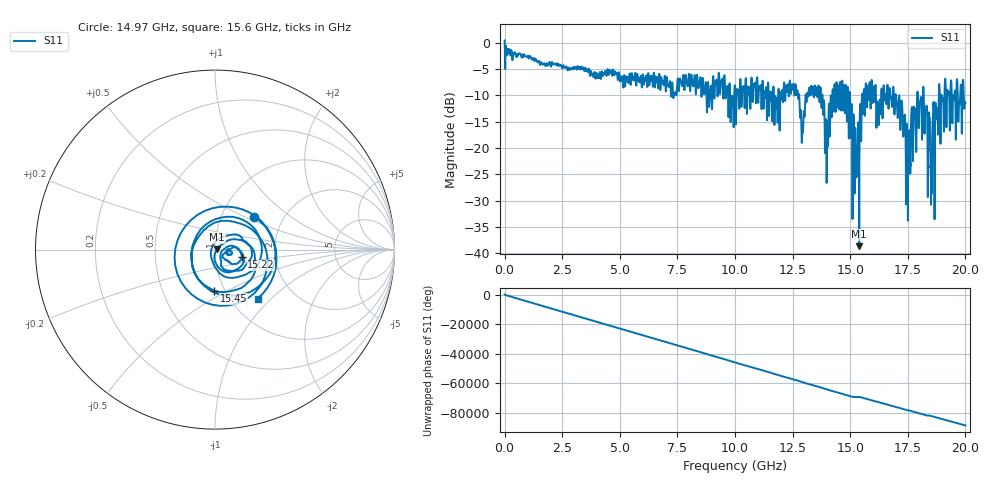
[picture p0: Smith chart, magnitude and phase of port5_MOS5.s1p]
! MS46122B
! 2250307/22442219
! 7/22/2025 7:48:47 AM
! C:\USERS\SPARKY\DOCUMENTS\VNA_DATA\JULY22_2025\3K\PORT5_MOS5.S1P
! CHANNEL.1
! TR.MEASUREMENT
! RAW.DATA
# GHZ S RI R 50.0
! FREQ.GHZ  S11RE  S11IM
!; PortSelection: Port_1
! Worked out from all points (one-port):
!   10001 points, 1 MHz to 20 GHz, reference 50 ohm
!   lowest |S11| = -38.6 dB at 15.39 GHz (marker M1), VSWR 1.02, Z = 51.2 + j0.225 ohm
!   |S11| at or under -10 dB: 14.99 GHz to 15.51 GHz (518.8 MHz wide, 3.4 % of centre); 16.98 GHz to 17.91 GHz (926.2 MHz wide, 5.31 % of centre); 18.19 GHz to 18.84 GHz (647.3 MHz wide, 3.5 % of centre) (the widest 3 of 83)
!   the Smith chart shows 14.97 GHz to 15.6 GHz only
!   S11 on the Smith chart (normalised r, x): 14.97 GHz: 1.43, +0.57; 15.22 GHz: 1.34, -0.12; 15.45 GHz: 0.89, -0.43; 15.6 GHz: 1.32, -0.83
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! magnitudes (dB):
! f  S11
! 1 MHz  0.4
! 2.501 GHz  -4.9
! 5.001 GHz  -7.4
! 7.501 GHz  -7.3
! 9.365 GHz  -8.7
! 10 GHz  -8.3
! 10.89 GHz  -8.4
! 11.86 GHz  -13.1
! 12.5 GHz  -8.9
! 12.92 GHz  -16.7
! 13.15 GHz  -9.5
! 13.63 GHz  -8.2
! 13.97 GHz  -23.4
! 14.32 GHz  -7.9
! 14.97 GHz  -10.9
! 15 GHz  -11.3
! 15.22 GHz  -16.2
! 15.39 GHz  -38.6
! 15.45 GHz  -12.8
! 15.6 GHz  -8.8
! 16.93 GHz  -12.6
! 17.3 GHz  -17.5
! 17.5 GHz  -30.2
! 17.99 GHz  -13.1
! 18.25 GHz  -14.2
! 18.46 GHz  -15.2
! 18.93 GHz  -14.0
! 20 GHz  -11.5
